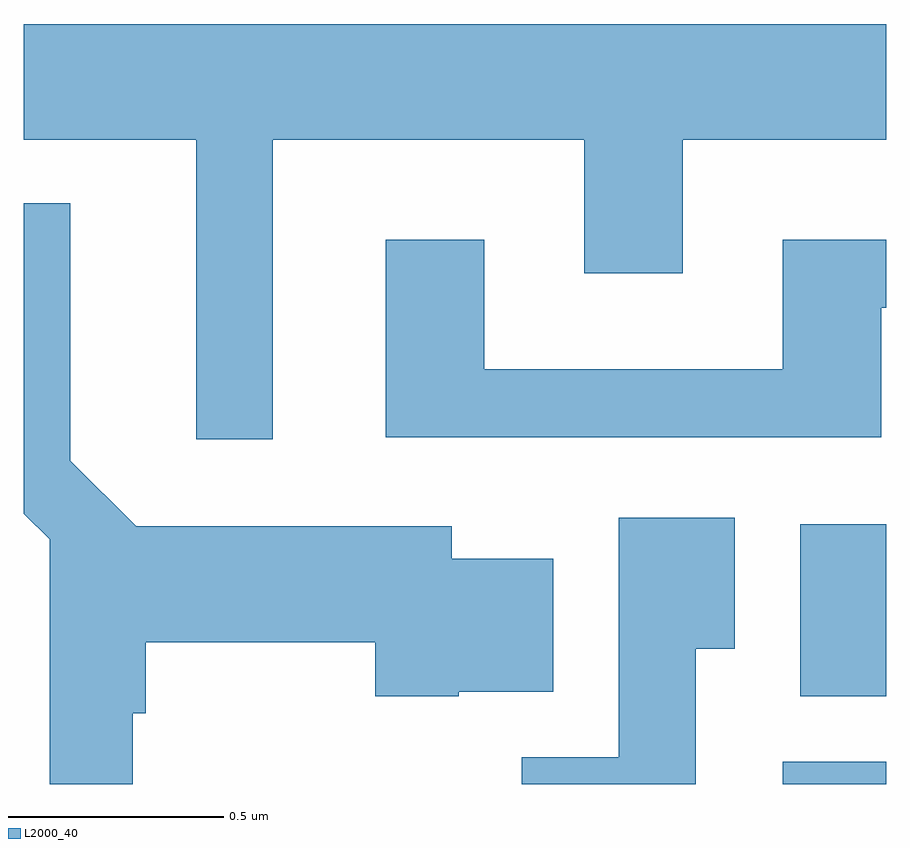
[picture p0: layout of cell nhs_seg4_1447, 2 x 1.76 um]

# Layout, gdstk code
import gdstk
lib = gdstk.Library(unit=1e-6, precision=1e-09)
def R(c, l, rs):  # rectangles x0, y0, x1, y1
    for r in rs: c.add(gdstk.rectangle(r[:2], r[2:], *l))
def P(c, l, *ps):  # polygons
    for p in ps: c.add(gdstk.Polygon(p, *l))
L2000_40 = (2000, 40)

nhs_seg4_1447 = lib.new_cell('nhs_seg4_1447')
R(nhs_seg4_1447, L2000_40, [(197.371,1330.982,197.611,1331.034), (197.411,1331.186,197.611,1331.584)])
P(nhs_seg4_1447, L2000_40, [(196.189,1332.476),(196.911,1332.476),(196.911,1332.166),(197.139,1332.166),(197.139,1332.476),(197.611,1332.476),(197.611,1332.744),(195.611,1332.744),(195.611,1332.476),(196.011,1332.476),(196.011,1331.781),(196.189,1331.781)],
  [(195.864,1331.146),(195.894,1331.146),(195.894,1331.311),(196.426,1331.311),(196.426,1331.186),(196.62,1331.186),(196.62,1331.196),(196.839,1331.196),(196.839,1331.504),(196.604,1331.504),(196.604,1331.579),(195.872,1331.579),(195.719,1331.732),(195.719,1332.328),(195.611,1332.328),(195.611,1331.609),(195.671,1331.549),(195.671,1330.982),(195.864,1330.982)],
  [(197.599,1332.086),(197.611,1332.086),(197.611,1332.244),(197.371,1332.244),(197.371,1331.944),(196.679,1331.944),(196.679,1332.244),(196.451,1332.244),(196.451,1331.786),(197.599,1331.786)],
  [(197.169,1331.296),(197.259,1331.296),(197.259,1331.599),(196.991,1331.599),(196.991,1331.044),(196.766,1331.044),(196.766,1330.982),(197.169,1330.982)])

lib.write_gds('nhs_seg4_1447.gds')
